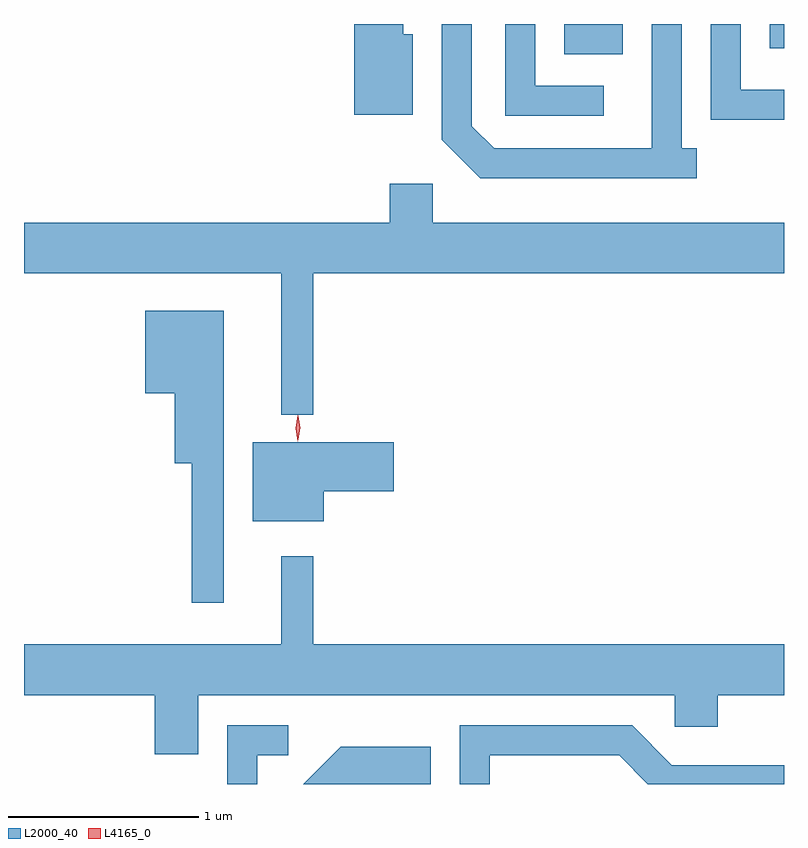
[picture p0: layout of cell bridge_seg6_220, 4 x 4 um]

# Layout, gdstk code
import gdstk
lib = gdstk.Library(unit=1e-6, precision=1e-09)
def R(c, l, rs):  # rectangles x0, y0, x1, y1
    for r in rs: c.add(gdstk.rectangle(r[:2], r[2:], *l))
def P(c, l, *ps):  # polygons
    for p in ps: c.add(gdstk.Polygon(p, *l))
L2000_40 = (2000, 40)
L4165_0 = (4165, 0)

bridge_seg6_220 = lib.new_cell('bridge_seg6_220')
R(bridge_seg6_220, L2000_40, [(1070.721,1546.751,1071.029,1546.909), (1071.801,1546.781,1071.877,1546.909)])
P(bridge_seg6_220, L2000_40, [(1071.877,1546.564),(1071.649,1546.564),(1071.649,1546.909),(1071.491,1546.909),(1071.491,1546.406),(1071.877,1546.406)],
  [(1069.924,1546.854),(1069.874,1546.854),(1069.874,1546.909),(1069.616,1546.909),(1069.616,1546.431),(1069.924,1546.431)],
  [(1070.928,1546.584),(1070.569,1546.584),(1070.569,1546.909),(1070.411,1546.909),(1070.411,1546.426),(1070.928,1546.426)],
  [(1071.418,1546.254),(1071.339,1546.254),(1071.339,1546.909),(1071.181,1546.909),(1071.181,1546.254),(1070.352,1546.254),(1070.234,1546.372),(1070.234,1546.909),(1070.076,1546.909),(1070.076,1546.299),(1070.279,1546.096),(1071.418,1546.096)],
  [(1069.399,1545.596),(1071.877,1545.596),(1071.877,1545.864),(1070.029,1545.864),(1070.029,1546.069),(1069.801,1546.069),(1069.801,1545.864),(1067.877,1545.864),(1067.877,1545.596),(1069.231,1545.596),(1069.231,1544.853),(1069.399,1544.853)],
  [(1068.929,1545.399),(1068.516,1545.399),(1068.516,1544.966),(1068.671,1544.966),(1068.671,1544.596),(1068.761,1544.596),(1068.761,1543.863),(1068.929,1543.863)],
  [(1069.454,1544.451),(1069.824,1544.451),(1069.824,1544.709),(1069.081,1544.709),(1069.081,1544.291),(1069.454,1544.291)],
  [(1068.794,1543.376),(1071.301,1543.376),(1071.301,1543.211),(1071.529,1543.211),(1071.529,1543.376),(1071.877,1543.376),(1071.877,1543.644),(1069.399,1543.644),(1069.399,1544.108),(1069.231,1544.108),(1069.231,1543.644),(1067.877,1543.644),(1067.877,1543.376),(1068.566,1543.376),(1068.566,1543.066),(1068.794,1543.066)],
  [(1069.104,1543.061),(1069.268,1543.061),(1069.268,1543.219),(1068.946,1543.219),(1068.946,1542.909),(1069.104,1542.909)],
  [(1070.329,1543.061),(1071.009,1543.061),(1071.161,1542.909),(1071.877,1542.909),(1071.877,1543.009),(1071.287,1543.009),(1071.077,1543.219),(1070.171,1543.219),(1070.171,1542.909),(1070.329,1542.909)],
  [(1070.019,1543.104),(1069.544,1543.104),(1069.348,1542.909),(1070.019,1542.909)])
P(bridge_seg6_220, L4165_0, [(1069.32,1544.72),(1069.32,1544.72),(1069.31,1544.783),(1069.32,1544.846),(1069.32,1544.847),(1069.32,1544.846),(1069.33,1544.783),(1069.321,1544.72)],
  [(1069.317,1544.714),(1069.308,1544.782),(1069.317,1544.85),(1069.318,1544.85),(1069.318,1544.85),(1069.328,1544.782),(1069.318,1544.714),(1069.318,1544.714)])

lib.write_gds('bridge_seg6_220.gds')
